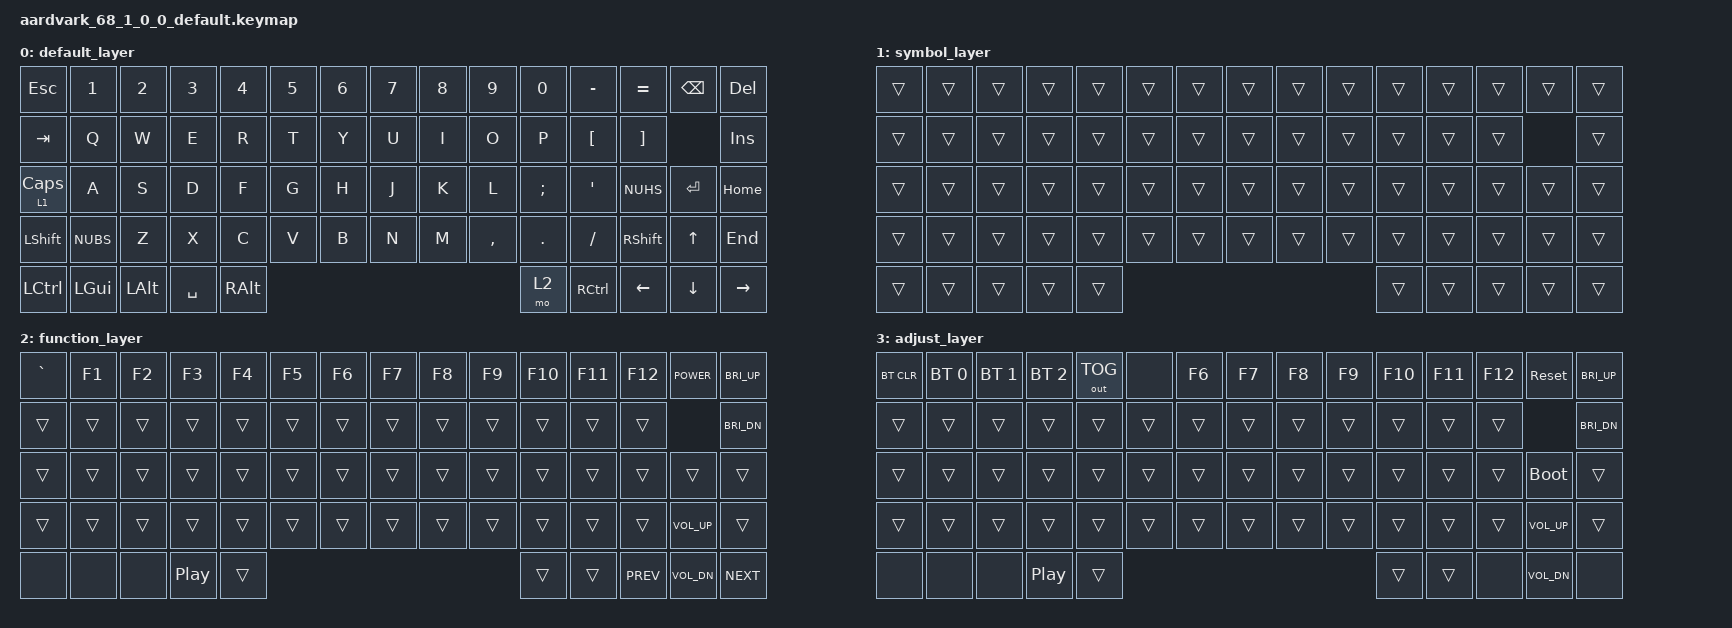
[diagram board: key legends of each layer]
/*
 * Copyright (c) 2026 The ZMK Contributors
 *
 * SPDX-License-Identifier: MIT
 *
 * Positional bindings: keys are bound to the US-ANSI HID position they
 * occupy (e.g. the physical "Å" key is bound as LBKT). Set the host OS
 * keyboard layout to Swedish so it translates positions to the printed
 * legends. This is the standard ZMK approach for non-US layouts.
 *
 * This board has a Swedish ISO layout: ISO Enter (tall, 1.25x2u) and a
 * split left shift (1.25u LSHFT + a separate NUBS key before Z) - both
 * confirmed directly from the PCB (switch footprints + net trace), not
 * assumed. The small corner glyphs seen on the reference keycaps (e.g.
 * "@" over 2, "$" over 4) are the standard Swedish AltGr layer, produced
 * automatically by the OS from the physical RALT key (bound below) plus
 * a Swedish OS keyboard layout - no separate ZMK layer is needed for
 * those, which is why symbol_layer below stays a plain passthrough.
 *
 * Layers 0/2/3 (base/functions/adjust) are transcribed from the
 * reference images in "/home/olov/Dropbox/Referens/Keymaps BT65/",
 * which are the stock Polarity Works BT65 keymaps (not bespoke to this
 * board). Note BT65 runs an nRF52 BLE controller; this board runs
 * STM32WB55's own controller (CPU2 + FUS) - an entirely different BLE
 * stack, so any bonding-stability issues seen on the BT65 don't
 * necessarily carry over, and fixes for one aren't guaranteed to apply
 * to the other. CONFIG_BT_MAX_PAIRED is set to 3 (not the usual 5) in
 * the board defconfig to keep bonded-profile state simpler.
 *
 * RGB/backlight bindings from the reference (BT65 has RGB underglow +
 * backlight hardware) are bound to &none here since Aardvark 68 rev
 * 1.0.0 has no such hardware - the sole onboard LED (D48) is the
 * MCP73831 charge indicator, not MCU-controlled. Good candidates to
 * revisit once the planned PE4 BLE-status LED lands in the next
 * revision.
 */

#include <behaviors.dtsi>
#include <dt-bindings/zmk/keys.h>
#include <dt-bindings/zmk/bt.h>
#include <dt-bindings/zmk/outputs.h>
#include <dt-bindings/zmk/matrix_transform.h>
#include "aardvark_68-layout.dtsi"

&aardvark_68_layout {
	transform = <&default_transform>;
};

/ {
	chosen {
		zmk,kscan = &kscan0;
		zmk,physical-layout = &aardvark_68_layout;
	};

	default_transform: keymap_transform_0 {
		compatible = "zmk,matrix-transform";
		columns = <16>;
		rows = <5>;

		map = <
RC(0,0)  RC(0,1)  RC(0,2)  RC(0,3)  RC(0,4)  RC(0,5)  RC(0,6)  RC(0,7)  RC(0,8)  RC(0,9)  RC(0,10) RC(0,11) RC(0,12)          RC(0,14) RC(0,15)
RC(1,0)           RC(1,2)  RC(1,3)  RC(1,4)  RC(1,5)  RC(1,6)  RC(1,7)  RC(1,8)  RC(1,9)  RC(1,10) RC(1,11) RC(1,12) RC(1,13)          RC(1,15)
RC(2,0)           RC(2,2)  RC(2,3)  RC(2,4)  RC(2,5)  RC(2,6)  RC(2,7)  RC(2,8)  RC(2,9)  RC(2,10) RC(2,11) RC(2,12) RC(2,13) RC(2,14) RC(2,15)
RC(3,0)  RC(3,1)  RC(3,2)  RC(3,3)  RC(3,4)  RC(3,5)  RC(3,6)  RC(3,7)  RC(3,8)  RC(3,9)  RC(3,10) RC(3,11)          RC(3,13) RC(3,14) RC(3,15)
RC(4,0)  RC(4,1)           RC(4,3)                    RC(4,6)                            RC(4,10) RC(4,11) RC(4,12) RC(4,13) RC(4,14) RC(4,15)
		>;
	};

	keymap {
		compatible = "zmk,keymap";

		default_layer {
			// -----------------------------------------------------------------------------------------------------
			// | ESC |  1  |  2  |  3  |  4  |  5  |  6  |  7  |  8  |  9  |  0  |  -  |  =  |   BSPC   | DEL |
			// |  TAB  |  Q  |  W  |  E  |  R  |  T  |  Y  |  U  |  I  |  O  |  P  |  [  |  ]  | INS |
			// | CAPS/LT1 |  A  |  S  |  D  |  F  |  G  |  H  |  J  |  K  |  L  |  ;  |  '  | NUHS |   ENTER   | HOME |
			// |  SHIFT  | NUBS |  Z  |  X  |  C  |  V  |  B  |  N  |  M  |  ,  |  .  |  /  |   SHIFT   | UP | END |
			// | CTRL | WIN | ALT |            SPACE            | ALT | FN | CTRL | LEFT | DOWN | RIGHT |
			// -----------------------------------------------------------------------------------------------------
			bindings = <
&kp ESC     &kp N1   &kp N2  &kp N3  &kp N4  &kp N5  &kp N6  &kp N7  &kp N8  &kp N9   &kp N0    &kp MINUS &kp EQUAL          &kp BSPC   &kp DEL
&kp TAB     &kp Q    &kp W   &kp E   &kp R   &kp T   &kp Y   &kp U   &kp I   &kp O    &kp P     &kp LBKT  &kp RBKT                      &kp INS
&lt 1 CAPS  &kp A    &kp S   &kp D   &kp F   &kp G   &kp H   &kp J   &kp K   &kp L    &kp SEMI  &kp SQT   &kp NUHS  &kp RET             &kp HOME
&kp LSHFT   &kp NUBS &kp Z   &kp X   &kp C   &kp V   &kp B   &kp N   &kp M   &kp COMMA &kp DOT  &kp FSLH  &kp RSHFT           &kp UP     &kp END
&kp LCTRL   &kp LGUI &kp LALT                &kp SPACE                       &kp RALT  &mo 2     &kp RCTRL &kp LEFT           &kp DOWN   &kp RIGHT
			>;
		};

		symbol_layer {
			// AltGr symbols are automatic (OS + RALT), see header comment - nothing to bind here.
			bindings = <
&trans &trans &trans &trans &trans &trans &trans &trans &trans &trans &trans &trans &trans          &trans &trans
&trans &trans &trans &trans &trans &trans &trans &trans &trans &trans &trans &trans &trans                 &trans
&trans &trans &trans &trans &trans &trans &trans &trans &trans &trans &trans &trans &trans &trans          &trans
&trans &trans &trans &trans &trans &trans &trans &trans &trans &trans &trans &trans &trans          &trans &trans
&trans &trans &trans                &trans                       &trans &trans &trans &trans        &trans &trans
			>;
		};

		function_layer {
			// -------------------------------------------------------------------------------------------------------
			// | GRV | F1 | F2 | F3 | F4 | F5 | F6 | F7 | F8 | F9 | F10 | F11 | F12 | K_POWER | BRI_UP |
			// | trans .......................................................................... | BRI_DN |
			// | trans .......................................................................... | trans  | trans |
			// | trans .......................................................................... | VOL_UP | trans |
			// | (backlight - N/A) | (backlight - N/A) | (backlight - N/A) | PLAY_PAUSE | trans | trans | trans | PREV | VOL_DN | NEXT |
			// -------------------------------------------------------------------------------------------------------
			bindings = <
&kp GRAVE &kp F1 &kp F2 &kp F3 &kp F4 &kp F5 &kp F6 &kp F7 &kp F8 &kp F9 &kp F10 &kp F11 &kp F12          &kp K_POWER   &kp C_BRI_UP
&trans    &trans &trans &trans &trans &trans &trans &trans &trans &trans &trans &trans &trans                          &kp C_BRI_DN
&trans    &trans &trans &trans &trans &trans &trans &trans &trans &trans &trans &trans &trans &trans                  &trans
&trans    &trans &trans &trans &trans &trans &trans &trans &trans &trans &trans &trans &trans                 &kp C_VOL_UP &trans
&none     &none  &none                &kp C_PLAY_PAUSE                    &trans &trans  &trans &kp C_PREV   &kp C_VOL_DN &kp C_NEXT
			>;
		};

		adjust_layer {
			// ---------------------------------------------------------------------------------------------------------
			// | BT_CLR | BT0 | BT1 | BT2 | USB/BT | -- | F6 | F7 | F8 | F9 | F10 | F11 | F12 | KB_RESET | BRI_UP |
			// (only 3 BT profiles configured - see CONFIG_BT_MAX_PAIRED in the board defconfig)
			// ---------------------------------------------------------------------------------------------------------
			bindings = <
&bt BT_CLR &bt BT_SEL 0 &bt BT_SEL 1 &bt BT_SEL 2 &out OUT_TOG  &none        &kp F6 &kp F7 &kp F8 &kp F9 &kp F10 &kp F11 &kp F12          &sys_reset    &kp C_BRI_UP
&trans     &trans       &trans       &trans       &trans       &trans       &trans &trans &trans &trans &trans  &trans  &trans                         &kp C_BRI_DN
&trans     &trans       &trans       &trans       &trans       &trans       &trans &trans &trans &trans &trans  &trans  &trans   &bootloader             &trans
&trans     &trans       &trans       &trans       &trans       &trans       &trans &trans &trans &trans &trans  &trans  &trans                &kp C_VOL_UP &trans
&none      &none        &none                     &kp C_PLAY_PAUSE                        &trans &trans  &trans &none          &kp C_VOL_DN &none
			>;
		};
	};

	conditional_layers {
		compatible = "zmk,conditional-layers";
		tri_layer {
			if-layers = <1 2>;
			then-layer = <3>;
		};
	};
};
